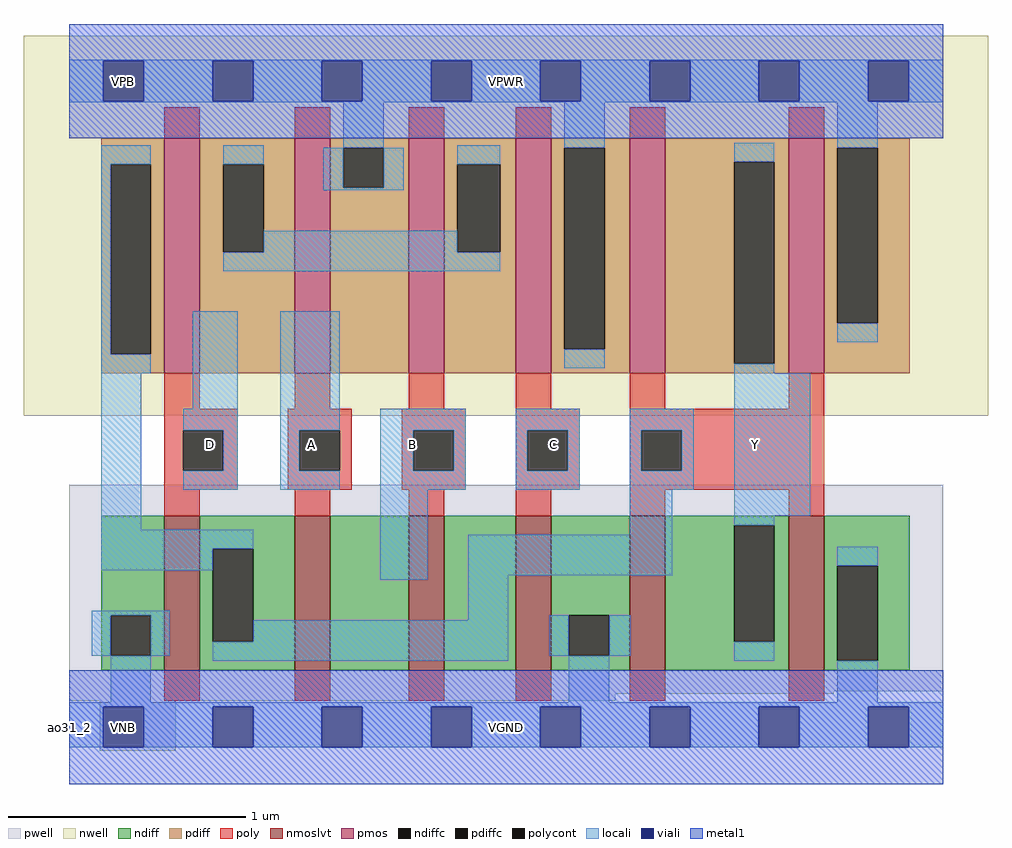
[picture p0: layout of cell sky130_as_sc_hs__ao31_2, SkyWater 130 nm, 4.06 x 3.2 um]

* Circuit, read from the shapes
.subckt sky130_as_sc_hs__ao31_2 VNB VPB VPWR VGND A B C D Y
XM1 n1 D VGND VNB sky130_fd_pr__nfet_01v8_lvt w=0.65 l=0.15
XM2 n2 A n1 VNB sky130_fd_pr__nfet_01v8_lvt w=0.65 l=0.15
XM3 n3 B n2 VNB sky130_fd_pr__nfet_01v8_lvt w=0.65 l=0.15
XM4 VGND C n3 VNB sky130_fd_pr__nfet_01v8_lvt w=0.65 l=0.15
XM5 Y n1 VGND VNB sky130_fd_pr__nfet_01v8_lvt w=0.65 l=0.15 m=2
XM6 n4 D n1 VPB sky130_fd_pr__pfet_01v8 w=0.99 l=0.15
XM7 VPWR A n4 VPB sky130_fd_pr__pfet_01v8 w=0.99 l=0.15
XM8 n4 B VPWR VPB sky130_fd_pr__pfet_01v8 w=0.99 l=0.15
XM9 VPWR C n4 VPB sky130_fd_pr__pfet_01v8 w=0.99 l=0.15
XM10 Y n1 VPWR VPB sky130_fd_pr__pfet_01v8 w=0.99 l=0.15 m=2
.ends

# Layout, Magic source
magic
tech sky130A
magscale 1 2
<< nwell >>
rect -38 262 774 582
<< pwell >>
rect 0 30 736 204
rect 0 28 644 30
rect 0 22 460 28
rect 26 -20 90 22
<< pmos >>
rect 80 298 110 496
rect 190 298 220 496
rect 286 298 316 496
rect 376 298 406 496
rect 472 298 502 496
rect 606 298 636 496
<< nmoslvt >>
rect 80 48 110 178
rect 190 48 220 178
rect 286 48 316 178
rect 376 48 406 178
rect 472 48 502 178
rect 606 48 636 178
<< ndiff >>
rect 27 94 80 178
rect 27 60 35 94
rect 69 60 80 94
rect 27 48 80 60
rect 110 150 190 178
rect 110 72 121 150
rect 155 72 190 150
rect 110 48 190 72
rect 220 48 286 178
rect 316 48 376 178
rect 406 94 472 178
rect 406 60 421 94
rect 455 60 472 94
rect 406 48 472 60
rect 502 170 606 178
rect 502 72 560 170
rect 594 72 606 170
rect 502 48 606 72
rect 636 136 708 178
rect 636 56 647 136
rect 681 56 708 136
rect 636 48 708 56
<< pdiff >>
rect 27 474 80 496
rect 27 314 35 474
rect 69 314 80 474
rect 27 298 80 314
rect 110 474 190 496
rect 110 400 130 474
rect 164 400 190 474
rect 110 298 190 400
rect 220 488 286 496
rect 220 454 231 488
rect 265 454 286 488
rect 220 298 286 454
rect 316 474 376 496
rect 316 400 327 474
rect 363 400 376 474
rect 316 298 376 400
rect 406 488 472 496
rect 406 318 417 488
rect 451 318 472 488
rect 406 298 472 318
rect 502 476 606 496
rect 502 306 560 476
rect 594 306 606 476
rect 502 298 606 306
rect 636 488 708 496
rect 636 340 647 488
rect 681 340 708 488
rect 636 298 708 340
<< ndiffc >>
rect 35 60 69 94
rect 121 72 155 150
rect 421 60 455 94
rect 560 72 594 170
rect 647 56 681 136
<< pdiffc >>
rect 35 314 69 474
rect 130 400 164 474
rect 231 454 265 488
rect 327 400 363 474
rect 417 318 451 488
rect 560 306 594 476
rect 647 340 681 488
<< poly >>
rect 80 496 110 522
rect 190 496 220 522
rect 286 496 316 522
rect 376 496 406 522
rect 472 496 502 522
rect 606 496 636 522
rect 80 268 110 298
rect 190 268 220 298
rect 286 268 316 298
rect 376 268 406 298
rect 472 268 502 298
rect 606 268 636 298
rect 80 250 142 268
rect 80 216 96 250
rect 130 216 142 250
rect 80 200 142 216
rect 184 250 238 268
rect 184 216 194 250
rect 228 216 238 250
rect 184 200 238 216
rect 280 250 334 268
rect 280 216 290 250
rect 324 216 334 250
rect 280 200 334 216
rect 376 250 430 268
rect 376 216 386 250
rect 420 216 430 250
rect 376 200 430 216
rect 472 250 636 268
rect 472 216 482 250
rect 516 216 636 250
rect 472 200 636 216
rect 80 178 110 200
rect 190 178 220 200
rect 286 178 316 200
rect 376 178 406 200
rect 472 178 502 200
rect 606 178 636 200
rect 80 22 110 48
rect 190 22 220 48
rect 286 22 316 48
rect 376 22 406 48
rect 472 22 502 48
rect 606 22 636 48
<< polycont >>
rect 96 216 130 250
rect 194 216 228 250
rect 290 216 324 250
rect 386 216 420 250
rect 482 216 516 250
<< locali >>
rect 0 561 736 562
rect 0 527 29 561
rect 63 527 121 561
rect 155 527 213 561
rect 247 527 305 561
rect 339 527 397 561
rect 431 527 489 561
rect 523 527 581 561
rect 615 527 673 561
rect 707 527 736 561
rect 0 526 736 527
rect 27 474 69 490
rect 27 314 35 474
rect 130 474 164 490
rect 231 488 265 526
rect 214 454 231 488
rect 265 454 282 488
rect 214 452 282 454
rect 327 474 363 490
rect 164 400 327 418
rect 130 384 363 400
rect 417 488 451 526
rect 27 298 69 314
rect 27 166 61 298
rect 104 268 142 350
rect 96 250 142 268
rect 130 216 142 250
rect 96 200 142 216
rect 178 250 228 350
rect 417 302 451 318
rect 560 476 594 492
rect 647 488 681 526
rect 647 324 681 340
rect 560 298 594 306
rect 178 216 194 250
rect 178 200 228 216
rect 262 250 334 268
rect 262 216 290 250
rect 324 216 334 250
rect 262 200 334 216
rect 376 250 430 268
rect 376 216 386 250
rect 420 216 430 250
rect 376 200 430 216
rect 472 250 526 268
rect 472 216 482 250
rect 516 216 526 250
rect 472 200 526 216
rect 27 150 155 166
rect 27 132 121 150
rect 19 94 85 98
rect 19 60 35 94
rect 69 60 85 94
rect 262 124 302 200
rect 472 162 508 200
rect 336 128 508 162
rect 560 178 624 298
rect 560 170 594 178
rect 336 90 370 128
rect 155 72 370 90
rect 35 21 69 60
rect 121 56 370 72
rect 405 60 421 94
rect 455 60 473 94
rect 421 21 455 60
rect 560 56 594 72
rect 647 136 681 152
rect 647 21 681 56
rect 0 17 736 21
rect 0 -17 29 17
rect 63 -17 121 17
rect 155 -17 213 17
rect 247 -17 305 17
rect 339 -17 397 17
rect 431 -17 489 17
rect 523 -17 581 17
rect 615 -17 673 17
rect 707 -17 736 17
<< viali >>
rect 29 527 63 561
rect 121 527 155 561
rect 213 527 247 561
rect 305 527 339 561
rect 397 527 431 561
rect 489 527 523 561
rect 581 527 615 561
rect 673 527 707 561
rect 29 -17 63 17
rect 121 -17 155 17
rect 213 -17 247 17
rect 305 -17 339 17
rect 397 -17 431 17
rect 489 -17 523 17
rect 581 -17 615 17
rect 673 -17 707 17
<< metal1 >>
rect 0 561 736 592
rect 0 527 29 561
rect 63 527 121 561
rect 155 527 213 561
rect 247 527 305 561
rect 339 527 397 561
rect 431 527 489 561
rect 523 527 581 561
rect 615 527 673 561
rect 707 527 736 561
rect 0 496 736 527
rect 0 17 736 48
rect 0 -17 29 17
rect 63 -17 121 17
rect 155 -17 213 17
rect 247 -17 305 17
rect 339 -17 397 17
rect 431 -17 489 17
rect 523 -17 581 17
rect 615 -17 673 17
rect 707 -17 736 17
rect 0 -48 736 -17
<< labels >>
rlabel comment s 0 0 0 0 4 ao31_2
flabel pwell s 29 -17 63 17 0 FreeSans 200 0 0 0 VNB
port 1 nsew ground bidirectional
flabel pwell s 46 0 46 0 0 FreeSans 200 0 0 0 VNB
flabel nwell s 29 527 63 561 0 FreeSans 200 0 0 0 VPB
port 2 nsew power bidirectional
flabel nwell s 46 544 46 544 0 FreeSans 200 0 0 0 VPB
flabel metal1 s 29 527 63 561 0 FreeSans 200 0 0 0 VPWR
port 3 nsew power bidirectional abutment
flabel metal1 s 29 -17 63 17 0 FreeSans 200 0 0 0 VGND
port 4 nsew ground bidirectional abutment
rlabel metal1 s 0 -48 736 48 1 VGND
port 4 nsew ground bidirectional abutment
rlabel metal1 s 0 496 736 592 1 VPWR
port 3 nsew power bidirectional abutment
flabel locali s 187 221 221 255 0 FreeSans 200 0 0 0 A
port 5 nsew signal input
flabel locali s 204 238 204 238 0 FreeSans 200 0 0 0 A
flabel locali s 272 221 306 255 0 FreeSans 200 0 0 0 B
port 6 nsew signal input
flabel locali s 289 238 289 238 0 FreeSans 200 0 0 0 B
flabel locali s 391 221 425 255 0 FreeSans 200 0 0 0 C
port 7 nsew signal input
flabel locali s 408 238 408 238 0 FreeSans 200 0 0 0 C
flabel locali s 102 221 136 255 0 FreeSans 200 0 0 0 D
port 8 nsew signal input
flabel locali s 119 238 119 238 0 FreeSans 200 0 0 0 D
flabel locali s 561 221 595 255 0 FreeSans 200 0 0 0 Y
port 9 nsew signal output
flabel locali s 578 238 578 238 0 FreeSans 200 0 0 0 Y
<< properties >>
string FIXED_BBOX 0 0 736 544
string GDS_FILE $PDKPATH/libs.ref/sky130_as_sc_hs/gds/sky130_as_sc_hs__ao31_2.gds
string LEFclass CORE
string LEFsite unithd
string LEFsymmetry X Y R90
string MASKHINTS_LVTN 0 -4 736 220
string MASKHINTS_NSDM 0 -38 736 209
string MASKHINTS_PSDM 0 273 736 582
<< end >>
